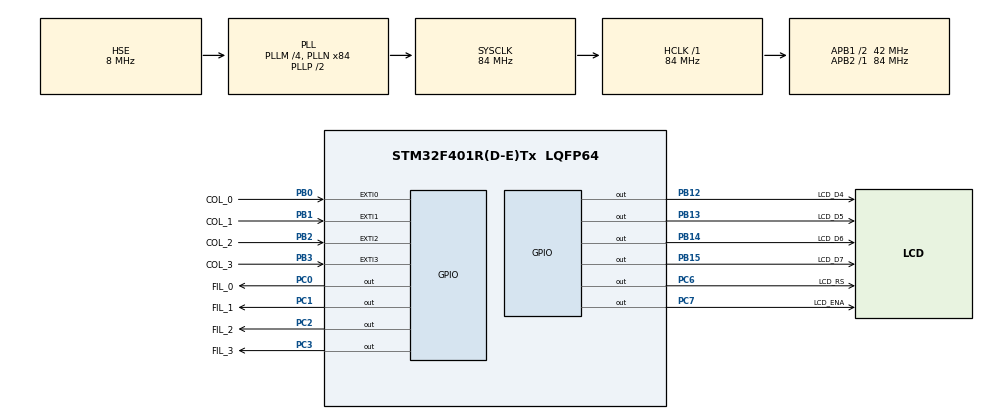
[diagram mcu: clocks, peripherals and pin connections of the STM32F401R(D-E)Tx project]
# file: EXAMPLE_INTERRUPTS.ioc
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Mcu.Family=STM32F4
Mcu.Name=STM32F401R(D-E)Tx
Mcu.Package=LQFP64
NVIC.EXTI0_IRQn=true\:1\:0\:true\:false\:true\:true\:true\:true
NVIC.EXTI1_IRQn=true\:2\:0\:true\:false\:true\:true\:true\:true
NVIC.EXTI2_IRQn=true\:3\:0\:true\:false\:true\:true\:true\:true
NVIC.EXTI3_IRQn=true\:4\:0\:true\:false\:true\:true\:true\:true
NVIC.PriorityGroup=NVIC_PRIORITYGROUP_4
PA13.Mode=Serial_Wire
PA13.Signal=SYS_JTMS-SWDIO
PA14.Mode=Serial_Wire
PA14.Signal=SYS_JTCK-SWCLK
PB0.GPIO_Label=COL_0
PB0.Signal=GPXTI0
PB1.GPIO_Label=COL_1
PB1.Signal=GPXTI1
PB12.GPIO_Label=LCD_D4
PB12.Signal=GPIO_Output
PB13.GPIO_Label=LCD_D5
PB13.Signal=GPIO_Output
PB14.GPIO_Label=LCD_D6
PB14.Signal=GPIO_Output
PB15.GPIO_Label=LCD_D7
PB15.Signal=GPIO_Output
PB2.GPIO_Label=COL_2
PB2.Signal=GPXTI2
PB3.GPIO_Label=COL_3
PB3.Signal=GPXTI3
PC0.GPIO_Label=FIL_0
PC0.Signal=GPIO_Output
PC1.GPIO_Label=FIL_1
PC1.Signal=GPIO_Output
PC2.GPIO_Label=FIL_2
PC2.Signal=GPIO_Output
PC3.GPIO_Label=FIL_3
PC3.Signal=GPIO_Output
PC6.GPIO_Label=LCD_RS
PC6.Signal=GPIO_Output
PC7.GPIO_Label=LCD_ENA
PC7.Signal=GPIO_Output
PH0\ -\ OSC_IN.Mode=HSE-External-Clock-Source
PH0\ -\ OSC_IN.Signal=RCC_OSC_IN
PH1\ -\ OSC_OUT.Mode=HSE-External-Clock-Source
PH1\ -\ OSC_OUT.Signal=RCC_OSC_OUT
ProjectManager.HeapSize=0x200
ProjectManager.StackSize=0x400
ProjectManager.TargetToolchain=STM32CubeIDE
RCC.48MHZClocksFreq_Value=24000000
RCC.AHBFreq_Value=84000000
RCC.APB1CLKDivider=RCC_HCLK_DIV2
RCC.APB1Freq_Value=42000000
RCC.APB1TimFreq_Value=84000000
RCC.APB2Freq_Value=84000000
RCC.APB2TimFreq_Value=84000000
RCC.CortexFreq_Value=84000000
RCC.HCLKFreq_Value=84000000
RCC.HSE_VALUE=8000000
RCC.HSI_VALUE=16000000
RCC.LSE_VALUE=32768
RCC.PLLM=4
RCC.PLLN=84
RCC.PLLQ=7
RCC.PLLSourceVirtual=RCC_PLLSOURCE_HSE
RCC.SYSCLKFreq_VALUE=84000000
RCC.SYSCLKSource=RCC_SYSCLKSOURCE_PLLCLK
RCC.VCOOutputFreq_Value=168000000
board=NUCLEO-F401RE

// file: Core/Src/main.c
/* USER CODE BEGIN Header */
/**
  ******************************************************************************
  * @file           : main.c
  * @brief          : Main program body
  ******************************************************************************
  * @attention
  *
  * Copyright (c) 2023 STMicroelectronics.
  * All rights reserved.
  *
  * This software is licensed under terms that can be found in the LICENSE file
  * in the root directory of this software component.
  * If no LICENSE file comes with this software, it is provided AS-IS.
  *
  ******************************************************************************
  */
/* USER CODE END Header */
#include "main.h"

/* USER CODE BEGIN Includes */
#include "LCD_Library.h"
/* USER CODE END Includes */

/* USER CODE BEGIN PD */
#define KEYPAD_PinType uint16_t
#define KEYPAD_PortType GPIO_TypeDef*
/* USER CODE END PD */

typedef struct{
	KEYPAD_PortType *dataport;
	KEYPAD_PinType *datapin;
}KEYPAD_Struct_t;
/* USER CODE BEGIN PV */
// PARA LCD
LCD_Struct_t LCD;
LCD_PinType LCD_PIN[] = {LCD_D4_Pin, LCD_D5_Pin, LCD_D6_Pin, LCD_D7_Pin};
LCD_PortType LCD_PORT[] = {LCD_D4_GPIO_Port, LCD_D5_GPIO_Port, LCD_D6_GPIO_Port, LCD_D7_GPIO_Port};

// PARA KEYPAD
KEYPAD_Struct_t KEYPAD;
KEYPAD_PortType KEYPAD_PORT[] = {FIL_0_GPIO_Port, FIL_1_GPIO_Port, FIL_2_GPIO_Port, FIL_3_GPIO_Port};
KEYPAD_PinType KEYPAD_PIN[] = {FIL_0_Pin, FIL_1_Pin, FIL_2_Pin, FIL_3_Pin};

volatile uint8_t conta;
volatile char KEY;
volatile bool flag = false;
/* USER CODE END PV */

void SystemClock_Config(void);
static void MX_GPIO_Init(void);
/* USER CODE BEGIN PFP */
void HAL_GPIO_EXTI_Callback(uint16_t GPIO_Pin);
KEYPAD_Struct_t KEYPAD_Create(KEYPAD_PortType port[], KEYPAD_PinType pin[]);
void FILA_SET(KEYPAD_Struct_t *KEYPAD, uint8_t valor);
/* USER CODE END PFP */

int main(void)
{
  /* USER CODE BEGIN 1 */
	LCD = LCD_Create(LCD_PORT, LCD_PIN, LCD_RS_GPIO_Port, LCD_RS_Pin, LCD_ENA_GPIO_Port, LCD_ENA_Pin);
	KEYPAD = KEYPAD_Create(KEYPAD_PORT, KEYPAD_PIN);

  /* USER CODE END 1 */

  /* MCU Configuration--------------------------------------------------------*/

  /* Reset of all peripherals, Initializes the Flash interface and the Systick. */
  HAL_Init();

  /* Configure the system clock */
  SystemClock_Config();

  /* Initialize all configured peripherals */
  MX_GPIO_Init();
  /* USER CODE BEGIN 2 */
  LCD_Init(&LCD);
  LCD_Command(&LCD, ClearDisplay);
  LCD_Command(&LCD, ReturnHome);
  LCD_Gotoxy(&LCD, 0, 0);
  LCD_String(&LCD, "....STM32-F401RE....");
  LCD_Gotoxy(&LCD, 0, 1);
  LCD_String(&LCD, "      *KEYPAD*");
  LCD_Gotoxy(&LCD, 0, 2);
  /* USER CODE END 2 */

  /* Infinite loop */
  /* USER CODE BEGIN WHILE */
  conta = 0;
  while (1)
  {
	  FILA_SET(&KEYPAD, conta);
	  HAL_Delay(25);
	  conta++;
	  if(conta>=4){
		  conta = 0;
	  }
	  if(flag){
		  LCD_Character(&LCD, KEY);
		  flag = false;
	  }
    /* USER CODE END WHILE */

  }
}

void SystemClock_Config(void)
{
  RCC_OscInitTypeDef RCC_OscInitStruct = {0};
  RCC_ClkInitTypeDef RCC_ClkInitStruct = {0};

  /** Configure the main internal regulator output voltage
  */
  __HAL_RCC_PWR_CLK_ENABLE();
  __HAL_PWR_VOLTAGESCALING_CONFIG(PWR_REGULATOR_VOLTAGE_SCALE2);

  /** Initializes the RCC Oscillators according to the specified parameters
  * in the RCC_OscInitTypeDef structure.
  */
  RCC_OscInitStruct.OscillatorType = RCC_OSCILLATORTYPE_HSE;
  RCC_OscInitStruct.HSEState = RCC_HSE_BYPASS;
  RCC_OscInitStruct.PLL.PLLState = RCC_PLL_ON;
  RCC_OscInitStruct.PLL.PLLSource = RCC_PLLSOURCE_HSE;
  RCC_OscInitStruct.PLL.PLLM = 4;
  RCC_OscInitStruct.PLL.PLLN = 84;
  RCC_OscInitStruct.PLL.PLLP = RCC_PLLP_DIV2;
  RCC_OscInitStruct.PLL.PLLQ = 7;
  if (HAL_RCC_OscConfig(&RCC_OscInitStruct) != HAL_OK)
  {
    Error_Handler();
  }

  /** Initializes the CPU, AHB and APB buses clocks
  */
  RCC_ClkInitStruct.ClockType = RCC_CLOCKTYPE_HCLK|RCC_CLOCKTYPE_SYSCLK
                              |RCC_CLOCKTYPE_PCLK1|RCC_CLOCKTYPE_PCLK2;
  RCC_ClkInitStruct.SYSCLKSource = RCC_SYSCLKSOURCE_PLLCLK;
  RCC_ClkInitStruct.AHBCLKDivider = RCC_SYSCLK_DIV1;
  RCC_ClkInitStruct.APB1CLKDivider = RCC_HCLK_DIV2;
  RCC_ClkInitStruct.APB2CLKDivider = RCC_HCLK_DIV1;

  if (HAL_RCC_ClockConfig(&RCC_ClkInitStruct, FLASH_LATENCY_2) != HAL_OK)
  {
    Error_Handler();
  }
}

static void MX_GPIO_Init(void)
{
  GPIO_InitTypeDef GPIO_InitStruct = {0};

  /* GPIO Ports Clock Enable */
  __HAL_RCC_GPIOH_CLK_ENABLE();
  __HAL_RCC_GPIOC_CLK_ENABLE();
  __HAL_RCC_GPIOB_CLK_ENABLE();
  __HAL_RCC_GPIOA_CLK_ENABLE();

  /*Configure GPIO pin Output Level */
  HAL_GPIO_WritePin(GPIOC, FIL_0_Pin|FIL_1_Pin|FIL_2_Pin|FIL_3_Pin
                          |LCD_RS_Pin|LCD_ENA_Pin, GPIO_PIN_RESET);

  /*Configure GPIO pin Output Level */
  HAL_GPIO_WritePin(GPIOB, LCD_D4_Pin|LCD_D5_Pin|LCD_D6_Pin|LCD_D7_Pin, GPIO_PIN_RESET);

  /*Configure GPIO pins : FIL_0_Pin FIL_1_Pin FIL_2_Pin FIL_3_Pin
                           LCD_RS_Pin LCD_ENA_Pin */
  GPIO_InitStruct.Pin = FIL_0_Pin|FIL_1_Pin|FIL_2_Pin|FIL_3_Pin
                          |LCD_RS_Pin|LCD_ENA_Pin;
  GPIO_InitStruct.Mode = GPIO_MODE_OUTPUT_PP;
  GPIO_InitStruct.Pull = GPIO_NOPULL;
  GPIO_InitStruct.Speed = GPIO_SPEED_FREQ_LOW;
  HAL_GPIO_Init(GPIOC, &GPIO_InitStruct);

  /*Configure GPIO pins : COL_0_Pin COL_1_Pin COL_2_Pin COL_3_Pin */
  GPIO_InitStruct.Pin = COL_0_Pin|COL_1_Pin|COL_2_Pin|COL_3_Pin;
  GPIO_InitStruct.Mode = GPIO_MODE_IT_RISING;
  GPIO_InitStruct.Pull = GPIO_PULLDOWN;
  HAL_GPIO_Init(GPIOB, &GPIO_InitStruct);

  /*Configure GPIO pins : LCD_D4_Pin LCD_D5_Pin LCD_D6_Pin LCD_D7_Pin */
  GPIO_InitStruct.Pin = LCD_D4_Pin|LCD_D5_Pin|LCD_D6_Pin|LCD_D7_Pin;
  GPIO_InitStruct.Mode = GPIO_MODE_OUTPUT_PP;
  GPIO_InitStruct.Pull = GPIO_NOPULL;
  GPIO_InitStruct.Speed = GPIO_SPEED_FREQ_LOW;
  HAL_GPIO_Init(GPIOB, &GPIO_InitStruct);

  /* EXTI interrupt init*/
  HAL_NVIC_SetPriority(EXTI0_IRQn, 1, 0);
  HAL_NVIC_EnableIRQ(EXTI0_IRQn);

  HAL_NVIC_SetPriority(EXTI1_IRQn, 2, 0);
  HAL_NVIC_EnableIRQ(EXTI1_IRQn);

  HAL_NVIC_SetPriority(EXTI2_IRQn, 3, 0);
  HAL_NVIC_EnableIRQ(EXTI2_IRQn);

  HAL_NVIC_SetPriority(EXTI3_IRQn, 4, 0);
  HAL_NVIC_EnableIRQ(EXTI3_IRQn);

}

/* USER CODE BEGIN 4 */

KEYPAD_Struct_t KEYPAD_Create(KEYPAD_PortType port[], KEYPAD_PinType pin[]){
	KEYPAD_Struct_t KEYPAD;

	KEYPAD.dataport = port;
	KEYPAD.datapin = pin;

	return KEYPAD;
}
void FILA_SET(KEYPAD_Struct_t *KEYPAD, uint8_t valor){
	uint8_t conta, val;

	val = 1<<valor;
	for(conta=0; conta < 4; conta++){
		HAL_GPIO_WritePin(KEYPAD->dataport[conta], KEYPAD->datapin[conta], (val>>conta)&0x01);
	}
	return;
}

void HAL_GPIO_EXTI_Callback(uint16_t GPIO_Pin){
	char keys[4][4] = {{'7', '8', '9', '/'},
			{'4', '5', '6', '*'},
			{'1', '2', '3', '-'},
			{'N', '0', '=', '+'}};

	switch (GPIO_Pin) {
	case COL_0_Pin:
		KEY = keys[conta][0];
		break;
	case COL_1_Pin:
		KEY = keys[conta][1];
		break;
	case COL_2_Pin:
		KEY = keys[conta][2];
		break;
	case COL_3_Pin:
		KEY = keys[conta][3];
		break;
	default:
		break;
	}
	flag = true;
}

/* USER CODE END 4 */

void Error_Handler(void)
{
  __disable_irq();
  while (1)
  {
  }
}
